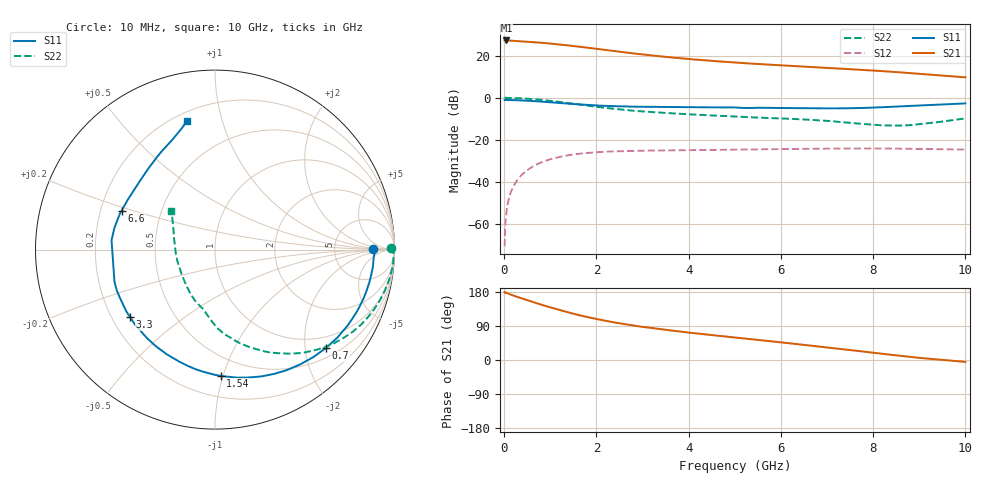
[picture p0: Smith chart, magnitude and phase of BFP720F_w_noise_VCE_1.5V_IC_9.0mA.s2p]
! Infineon Technologies  Discrete & RF Semiconductors
! BFP720F
! VCE =  1.5 V,  IC =  9.0 mA
! Common Emitter S-Parameters:  Jan 2016
# GHz  S  MA  R  50
!  f  S11  S21  S12  S22
! GHz  MAG  ANG  MAG  ANG  MAG  ANG  MAG  ANG
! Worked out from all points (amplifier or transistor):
!   233 points, 10 MHz to 10 GHz, reference 50 ohm
!   highest |S21| = 27.2 dB at 50 MHz (marker M1)
!   |S21| within 3 dB of that: start of sweep to 1.653 GHz
!   unconditionally stable (mu >= 1): start of sweep to 12.41 MHz; 7.026 GHz to end of sweep
!   at 200 MHz: K = 0.05, MSG = 34.6 dB, |S12| = -42.2 dB
!   at 1.74 GHz: K = 0.29, MSG = 25.1 dB, |S12| = -26.3 dB
!   at 10 GHz: K = 1.30, MAG = 13.9 dB, |S12| = -24.6 dB
!   lowest NFmin = 0.52 dB at 450 MHz
!   S11 on the Smith chart (normalised r, x): 10 MHz: 16, +0; 700 MHz: 0.71, -2.45; 1.54 GHz: 0.35, -0.98; 3.3 GHz: 0.27, -0.32; 6.6 GHz: 0.29, +0.18; 10 GHz: 0.25, +0.77
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0.01  0.8824 0.1  22.88 179.6  0.0003 -22.0  0.9781 0.6
0.02  0.8893 -1.1  22.68 177.5  0.0008 93.0  0.9969 -1.3
0.05  0.885 -3.2  22.91 177.2  0.0019 85.9  0.9951 -1.9
0.195  0.8791 -11.8  22.43 170.2  0.0076 83.2  0.9885 -7.8
0.34  0.8675 -20.5  21.9 164.1  0.0132 78.2  0.9734 -13.5
0.7  0.8259 -41.7  20.58 150.1  0.0259 66.1  0.9148 -27.2
0.8  0.8112 -47.7  20.31 146.2  0.029 62.9  0.8935 -30.8
1.02  0.7786 -60.1  19.26 138.2  0.0352 56.1  0.8409 -38.5
1.3  0.7372 -75.1  17.92 128.6  0.0415 48.3  0.7709 -47.6
1.54  0.7041 -87.4  16.76 121.0  0.0456 42.4  0.7114 -54.6
1.68  0.6869 -94.1  16.08 116.8  0.0476 39.3  0.6779 -58.4
2  0.6557 -107.5  14.53 108.1  0.0509 33.1  0.6107 -66.3
2.4  0.6313 -121.3  12.76 98.9  0.0535 26.7  0.5435 -74.6
2.8  0.6148 -132.0  11.29 91.0  0.0547 22.1  0.4922 -80.8
3.3  0.6042 -141.7  9.848 82.9  0.0559 17.8  0.4503 -86.5
3.4  0.6029 -143.5  9.589 81.3  0.0561 17.0  0.4427 -87.6
4  0.5949 -151.8  8.308 72.3  0.057 13.2  0.4044 -92.0
5.1  0.5788 -166.8  6.748 58.1  0.0589 8.2  0.3542 -98.5
6.6  0.5639 157.3  5.417 38.5  0.0615 2.1  0.3012 -112.5
6.8  0.5607 153.7  5.265 35.8  0.0618 1.2  0.2917 -115.5
8.4  0.6107 121.5  4.146 13.6  0.0623 -6.1  0.219 -163.3
10  0.7338 102.3  3.057 -5.0  0.0589 -10.1  0.3231 138.6
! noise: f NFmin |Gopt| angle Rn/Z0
0.45  0.52  0.33  4  0.18
0.9  0.55  0.31  9  0.15
1.8  0.6  0.29  15  0.14
2.4  0.63  0.26  25  0.14
5.5  0.77  0.25  48  0.08
10  0.99  0.27  -94  0.17
